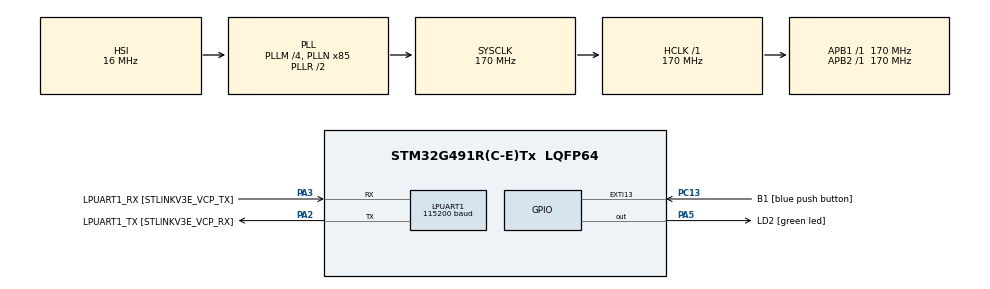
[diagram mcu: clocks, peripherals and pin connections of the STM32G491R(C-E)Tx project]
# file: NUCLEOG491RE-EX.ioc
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FREERTOS.INCLUDE_vTaskDelayUntil=1
FREERTOS.Tasks01=Default,-3,128,Default_task,Default,NULL,Dynamic,NULL,NULL;HighPrio,2,128,HighPrio_task,Default,NULL,Dynamic,NULL,NULL
FREERTOS.configENABLE_FPU=1
FREERTOS.configMAX_TASK_NAME_LEN=32
FREERTOS.configMINIMAL_STACK_SIZE=64
FREERTOS.configTIMER_TASK_PRIORITY=6
FREERTOS.configUSE_NEWLIB_REENTRANT=1
FREERTOS.configUSE_TIMERS=1
FREERTOS.configUSE_TRACE_FACILITY=1
LPUART1.BaudRate=115200
LPUART1.WordLength=UART_WORDLENGTH_8B
Mcu.Family=STM32G4
Mcu.Name=STM32G491R(C-E)Tx
Mcu.Package=LQFP64
NVIC.EXTI15_10_IRQn=true\:5\:0\:false\:false\:true\:true\:true\:true\:true
NVIC.PriorityGroup=NVIC_PRIORITYGROUP_4
NVIC.TIM8_UP_IRQn=true\:15\:0\:false\:false\:true\:false\:false\:true\:true
NVIC.TimeBase=TIM8_UP_IRQn
NVIC.TimeBaseIP=TIM8
PA13.GPIO_Label=T_SWDIO
PA13.Mode=JTAG_5_pins
PA13.Signal=SYS_JTMS-SWDIO
PA14.GPIO_Label=T_SWCLK
PA14.Mode=JTAG_5_pins
PA14.Signal=SYS_JTCK-SWCLK
PA15.Mode=JTAG_5_pins
PA15.Signal=SYS_JTDI
PA2.GPIO_Label=LPUART1_TX [STLINKV3E_VCP_RX]
PA2.Mode=Asynchronous
PA2.Signal=LPUART1_TX
PA3.GPIO_Label=LPUART1_RX [STLINKV3E_VCP_TX]
PA3.Mode=Asynchronous
PA3.Signal=LPUART1_RX
PA5.GPIO_Label=LD2 [green led]
PA5.Signal=GPIO_Output
PB3.GPIO_Label=T_SWO
PB3.Mode=JTAG_5_pins
PB3.Signal=SYS_JTDO-SWO
PB4.Mode=JTAG_5_pins
PB4.Signal=SYS_JTRST
PC13.GPIO_Label=B1 [blue push button]
PC13.Signal=GPXTI13
PC14-OSC32_IN.Mode=LSE-External-Oscillator
PC14-OSC32_IN.Signal=RCC_OSC32_IN
PC15-OSC32_OUT.Mode=LSE-External-Oscillator
PC15-OSC32_OUT.Signal=RCC_OSC32_OUT
PF0-OSC_IN.Mode=HSE-External-Oscillator
PF0-OSC_IN.Signal=RCC_OSC_IN
PF1-OSC_OUT.Mode=HSE-External-Oscillator
PF1-OSC_OUT.Signal=RCC_OSC_OUT
ProjectManager.HeapSize=0x200
ProjectManager.StackSize=0x400
ProjectManager.TargetToolchain=STM32CubeIDE
RCC.ADC12Freq_Value=170000000
RCC.ADC345Freq_Value=170000000
RCC.AHBFreq_Value=170000000
RCC.APB1Freq_Value=170000000
RCC.APB1TimFreq_Value=170000000
RCC.APB2Freq_Value=170000000
RCC.APB2TimFreq_Value=170000000
RCC.CortexFreq_Value=170000000
RCC.DATA_CACHE_ENABLE=0
RCC.EXTERNAL_CLOCK_VALUE=12288000
RCC.HCLKFreq_Value=170000000
RCC.HSE_VALUE=24000000
RCC.HSI48_VALUE=48000000
RCC.HSI_VALUE=16000000
RCC.PLLM=RCC_PLLM_DIV4
RCC.PLLN=85
RCC.RTCClockSelection=RCC_RTCCLKSOURCE_LSE
RCC.SYSCLKFreq_VALUE=170000000
RCC.SYSCLKSource=RCC_SYSCLKSOURCE_PLLCLK
RCC.USBFreq_Value=48000000
RCC.VCOOutputFreq_Value=340000000
VP_FREERTOS_VS_CMSIS_V1.Mode=CMSIS_V1
VP_SYS_VS_DBSignals.Mode=DisableDeadBatterySignals
VP_SYS_VS_tim8.Mode=TIM8
board=NUCLEO-G491RE

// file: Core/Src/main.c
/* USER CODE BEGIN Header */
/**
  ******************************************************************************
  * @file           : main.c
  * @brief          : Main program body
  ******************************************************************************
  * @attention
  *
  * Copyright (c) 2024 STMicroelectronics.
  * All rights reserved.
  *
  * This software is licensed under terms that can be found in the LICENSE file
  * in the root directory of this software component.
  * If no LICENSE file comes with this software, it is provided AS-IS.
  *
  ******************************************************************************
  */
/* USER CODE END Header */
#include "main.h"
#include "cmsis_os.h"

UART_HandleTypeDef hlpuart1;

osThreadId DefaultHandle;
osThreadId HighPrioHandle;

void SystemClock_Config(void);
static void MX_GPIO_Init(void);
static void MX_LPUART1_UART_Init(void);
void Default_task(void const * argument);
void HighPrio_task(void const * argument);

int main(void)
{

  /* MCU Configuration--------------------------------------------------------*/

  /* Reset of all peripherals, Initializes the Flash interface and the Systick. */
  HAL_Init();

  /* Configure the system clock */
  SystemClock_Config();

  /* Initialize all configured peripherals */
  MX_GPIO_Init();
  MX_LPUART1_UART_Init();

  /* Create the thread(s) */
  /* definition and creation of Default */
  osThreadDef(Default, Default_task, osPriorityIdle, 0, 128);
  DefaultHandle = osThreadCreate(osThread(Default), NULL);

  /* definition and creation of HighPrio */
  osThreadDef(HighPrio, HighPrio_task, osPriorityHigh, 0, 128);
  HighPrioHandle = osThreadCreate(osThread(HighPrio), NULL);

  /* Start scheduler */
  osKernelStart();

  /* We should never get here as control is now taken by the scheduler */

  /* Infinite loop */
  while (1)
  {

  }
}

void SystemClock_Config(void)
{
  RCC_OscInitTypeDef RCC_OscInitStruct = {0};
  RCC_ClkInitTypeDef RCC_ClkInitStruct = {0};

  /** Configure the main internal regulator output voltage
  */
  HAL_PWREx_ControlVoltageScaling(PWR_REGULATOR_VOLTAGE_SCALE1_BOOST);

  /** Initializes the RCC Oscillators according to the specified parameters
  * in the RCC_OscInitTypeDef structure.
  */
  RCC_OscInitStruct.OscillatorType = RCC_OSCILLATORTYPE_HSI;
  RCC_OscInitStruct.HSIState = RCC_HSI_ON;
  RCC_OscInitStruct.HSICalibrationValue = RCC_HSICALIBRATION_DEFAULT;
  RCC_OscInitStruct.PLL.PLLState = RCC_PLL_ON;
  RCC_OscInitStruct.PLL.PLLSource = RCC_PLLSOURCE_HSI;
  RCC_OscInitStruct.PLL.PLLM = RCC_PLLM_DIV4;
  RCC_OscInitStruct.PLL.PLLN = 85;
  RCC_OscInitStruct.PLL.PLLP = RCC_PLLP_DIV2;
  RCC_OscInitStruct.PLL.PLLQ = RCC_PLLQ_DIV2;
  RCC_OscInitStruct.PLL.PLLR = RCC_PLLR_DIV2;
  if (HAL_RCC_OscConfig(&RCC_OscInitStruct) != HAL_OK)
  {
    Error_Handler();
  }

  /** Initializes the CPU, AHB and APB buses clocks
  */
  RCC_ClkInitStruct.ClockType = RCC_CLOCKTYPE_HCLK|RCC_CLOCKTYPE_SYSCLK
                              |RCC_CLOCKTYPE_PCLK1|RCC_CLOCKTYPE_PCLK2;
  RCC_ClkInitStruct.SYSCLKSource = RCC_SYSCLKSOURCE_PLLCLK;
  RCC_ClkInitStruct.AHBCLKDivider = RCC_SYSCLK_DIV1;
  RCC_ClkInitStruct.APB1CLKDivider = RCC_HCLK_DIV1;
  RCC_ClkInitStruct.APB2CLKDivider = RCC_HCLK_DIV1;

  if (HAL_RCC_ClockConfig(&RCC_ClkInitStruct, FLASH_LATENCY_4) != HAL_OK)
  {
    Error_Handler();
  }
}

static void MX_LPUART1_UART_Init(void)
{

  hlpuart1.Instance = LPUART1;
  hlpuart1.Init.BaudRate = 115200;
  hlpuart1.Init.WordLength = UART_WORDLENGTH_8B;
  hlpuart1.Init.StopBits = UART_STOPBITS_1;
  hlpuart1.Init.Parity = UART_PARITY_NONE;
  hlpuart1.Init.Mode = UART_MODE_TX_RX;
  hlpuart1.Init.HwFlowCtl = UART_HWCONTROL_NONE;
  hlpuart1.Init.OneBitSampling = UART_ONE_BIT_SAMPLE_DISABLE;
  hlpuart1.Init.ClockPrescaler = UART_PRESCALER_DIV1;
  hlpuart1.AdvancedInit.AdvFeatureInit = UART_ADVFEATURE_NO_INIT;
  if (HAL_UART_Init(&hlpuart1) != HAL_OK)
  {
    Error_Handler();
  }
  if (HAL_UARTEx_SetTxFifoThreshold(&hlpuart1, UART_TXFIFO_THRESHOLD_1_8) != HAL_OK)
  {
    Error_Handler();
  }
  if (HAL_UARTEx_SetRxFifoThreshold(&hlpuart1, UART_RXFIFO_THRESHOLD_1_8) != HAL_OK)
  {
    Error_Handler();
  }
  if (HAL_UARTEx_DisableFifoMode(&hlpuart1) != HAL_OK)
  {
    Error_Handler();
  }

}

static void MX_GPIO_Init(void)
{
  GPIO_InitTypeDef GPIO_InitStruct = {0};

  /* GPIO Ports Clock Enable */
  __HAL_RCC_GPIOC_CLK_ENABLE();
  __HAL_RCC_GPIOF_CLK_ENABLE();
  __HAL_RCC_GPIOA_CLK_ENABLE();
  __HAL_RCC_GPIOB_CLK_ENABLE();

  /*Configure GPIO pin Output Level */
  HAL_GPIO_WritePin(LD2_GPIO_Port, LD2_Pin, GPIO_PIN_RESET);

  /*Configure GPIO pin : B1_Pin */
  GPIO_InitStruct.Pin = B1_Pin;
  GPIO_InitStruct.Mode = GPIO_MODE_IT_RISING;
  GPIO_InitStruct.Pull = GPIO_NOPULL;
  HAL_GPIO_Init(B1_GPIO_Port, &GPIO_InitStruct);

  /*Configure GPIO pin : LD2_Pin */
  GPIO_InitStruct.Pin = LD2_Pin;
  GPIO_InitStruct.Mode = GPIO_MODE_OUTPUT_PP;
  GPIO_InitStruct.Pull = GPIO_NOPULL;
  GPIO_InitStruct.Speed = GPIO_SPEED_FREQ_LOW;
  HAL_GPIO_Init(LD2_GPIO_Port, &GPIO_InitStruct);

  /* EXTI interrupt init*/
  HAL_NVIC_SetPriority(EXTI15_10_IRQn, 5, 0);
  HAL_NVIC_EnableIRQ(EXTI15_10_IRQn);

}

/* USER CODE BEGIN 4 */
uint16_t vCells[144];
uint16_t tCells[144];
uint16_t current;

/* USER CODE END 4 */

void Default_task(void const * argument)
{
  /* USER CODE BEGIN 5 */
  /* Infinite loop */
  for(;;)
  {
	for(uint8_t i = 0; i < 144; i++) {
		vCells[i] = rand() % 3000 + 2000;
		tCells[i] = rand() % 6000;
	}
	current = rand() % 1000;
	HAL_GPIO_TogglePin(LD2_GPIO_Port, LD2_Pin);
    osDelay(300);
  }
  /* USER CODE END 5 */
}

void HighPrio_task(void const * argument)
{
  /* USER CODE BEGIN HighPrio_task */
  /* Infinite loop */
  for(;;)
  {
	  HAL_GPIO_TogglePin(LD2_GPIO_Port, LD2_Pin);
	  HAL_UART_Transmit(&hlpuart1, "++++++++", 8, 500);
	  HAL_UART_Transmit(&hlpuart1, (uint8_t*)vCells, 144*2, 500);
	  HAL_UART_Transmit(&hlpuart1, (uint8_t*)tCells, 144*2, 500);
	  HAL_UART_Transmit(&hlpuart1, (uint8_t*)&current, 2, 500);
	  osDelay(200);
  }
  /* USER CODE END HighPrio_task */
}

void HAL_TIM_PeriodElapsedCallback(TIM_HandleTypeDef *htim)
{
  if (htim->Instance == TIM8) {
    HAL_IncTick();
  }
}

void Error_Handler(void)
{
  __disable_irq();
  while (1)
  {
  }
}
